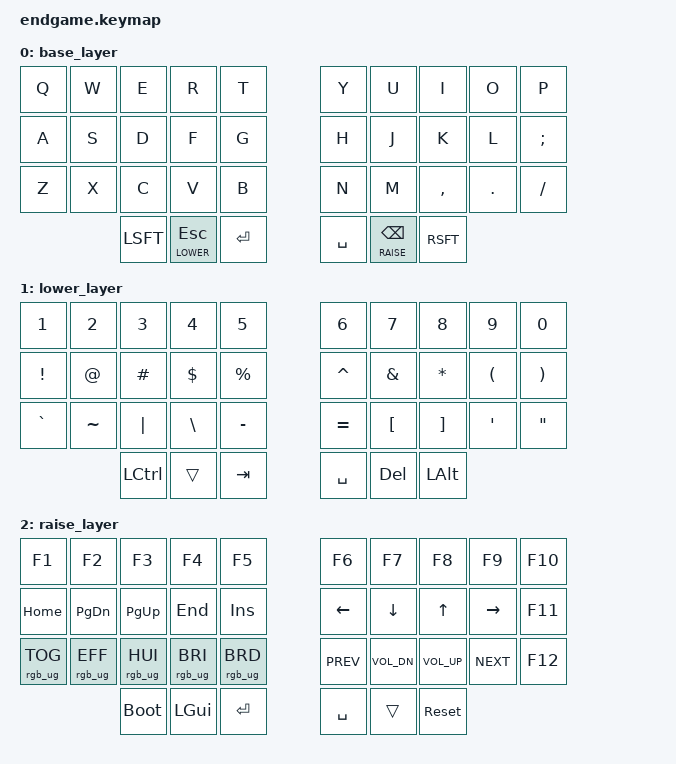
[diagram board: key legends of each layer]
/*
 * Sample keymap for the wired RP2040-Zero Choc V2 Endgame.
 * A plain QWERTY starting point; replace it with your own layout.
 */

#include <behaviors.dtsi>
#include <dt-bindings/zmk/keys.h>
#include <dt-bindings/zmk/rgb.h>

#define BASE 0
#define LOWER 1
#define RAISE 2

/ {
    keymap {
        compatible = "zmk,keymap";

        base_layer {
            bindings = <
                &kp Q    &kp W    &kp E    &kp R    &kp T                 &kp Y    &kp U    &kp I      &kp O    &kp P
                &kp A    &kp S    &kp D    &kp F    &kp G                 &kp H    &kp J    &kp K      &kp L    &kp SCLN
                &kp Z    &kp X    &kp C    &kp V    &kp B                 &kp N    &kp M    &kp COMMA  &kp DOT  &kp FSLH
                &kp LSFT                   &lt LOWER ESC &kp RET           &kp SPACE &lt RAISE BSPC            &kp RSFT
            >;
        };

        lower_layer {
            bindings = <
                &kp N1    &kp N2    &kp N3    &kp N4    &kp N5               &kp N6    &kp N7    &kp N8    &kp N9    &kp N0
                &kp EXCL  &kp AT    &kp HASH  &kp DLLR  &kp PRCNT             &kp CARET &kp AMPS  &kp ASTRK &kp LPAR  &kp RPAR
                &kp GRAVE &kp TILDE &kp PIPE  &kp BSLH  &kp MINUS             &kp EQUAL &kp LBKT  &kp RBKT  &kp SQT   &kp DQT
                &kp LCTRL                  &trans      &kp TAB               &kp SPACE &kp DEL                 &kp LALT
            >;
        };

        raise_layer {
            bindings = <
                &kp F1    &kp F2    &kp F3    &kp F4    &kp F5               &kp F6    &kp F7    &kp F8    &kp F9    &kp F10
                &kp HOME  &kp PG_DN &kp PG_UP &kp END   &kp INS              &kp LEFT  &kp DOWN  &kp UP    &kp RIGHT &kp F11
                &rgb_ug RGB_TOG &rgb_ug RGB_EFF &rgb_ug RGB_HUI &rgb_ug RGB_BRI &rgb_ug RGB_BRD    &kp C_PREV &kp C_VOL_DN &kp C_VOL_UP &kp C_NEXT &kp F12
                &bootloader                &kp LGUI    &kp RET               &kp SPACE &trans                  &sys_reset
            >;
        };
    };
};
